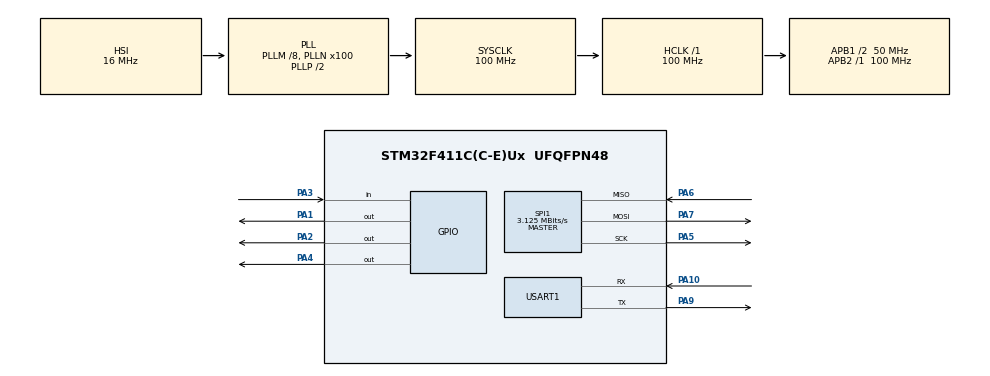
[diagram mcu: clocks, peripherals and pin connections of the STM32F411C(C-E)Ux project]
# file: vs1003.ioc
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Dma.Request0=USART1_RX
Dma.USART1_RX.0.Direction=DMA_PERIPH_TO_MEMORY
Dma.USART1_RX.0.FIFOMode=DMA_FIFOMODE_DISABLE
Dma.USART1_RX.0.Instance=DMA2_Stream2
Dma.USART1_RX.0.MemDataAlignment=DMA_MDATAALIGN_BYTE
Dma.USART1_RX.0.MemInc=DMA_MINC_ENABLE
Dma.USART1_RX.0.Mode=DMA_CIRCULAR
Dma.USART1_RX.0.PeriphDataAlignment=DMA_PDATAALIGN_BYTE
Dma.USART1_RX.0.PeriphInc=DMA_PINC_DISABLE
Dma.USART1_RX.0.Priority=DMA_PRIORITY_LOW
Mcu.Family=STM32F4
Mcu.Name=STM32F411C(C-E)Ux
Mcu.Package=UFQFPN48
NVIC.DMA2_Stream2_IRQn=true\:0\:0\:false\:false\:true\:false\:true\:true
NVIC.PriorityGroup=NVIC_PRIORITYGROUP_4
PA1.PinState=GPIO_PIN_SET
PA1.Signal=GPIO_Output
PA10.Mode=Asynchronous
PA10.Signal=USART1_RX
PA13.Mode=Serial_Wire
PA13.Signal=SYS_JTMS-SWDIO
PA14.Mode=Serial_Wire
PA14.Signal=SYS_JTCK-SWCLK
PA2.PinState=GPIO_PIN_SET
PA2.Signal=GPIO_Output
PA3.Signal=GPIO_Input
PA4.PinState=GPIO_PIN_SET
PA4.Signal=GPIO_Output
PA5.Mode=Full_Duplex_Master
PA5.Signal=SPI1_SCK
PA6.Mode=Full_Duplex_Master
PA6.Signal=SPI1_MISO
PA7.Mode=Full_Duplex_Master
PA7.Signal=SPI1_MOSI
PA9.Mode=Asynchronous
PA9.Signal=USART1_TX
PH0\ -\ OSC_IN.Mode=HSE-External-Oscillator
PH0\ -\ OSC_IN.Signal=RCC_OSC_IN
PH1\ -\ OSC_OUT.Mode=HSE-External-Oscillator
PH1\ -\ OSC_OUT.Signal=RCC_OSC_OUT
ProjectManager.HeapSize=0x200
ProjectManager.StackSize=0x400
ProjectManager.TargetToolchain=STM32CubeIDE
RCC.48MHZClocksFreq_Value=50000000
RCC.AHBFreq_Value=100000000
RCC.APB1CLKDivider=RCC_HCLK_DIV2
RCC.APB1Freq_Value=50000000
RCC.APB1TimFreq_Value=100000000
RCC.APB2Freq_Value=100000000
RCC.APB2TimFreq_Value=100000000
RCC.CortexFreq_Value=100000000
RCC.HCLKFreq_Value=100000000
RCC.HSE_VALUE=25000000
RCC.HSI_VALUE=16000000
RCC.LSE_VALUE=32768
RCC.PLLM=8
RCC.PLLN=100
RCC.SYSCLKFreq_VALUE=100000000
RCC.SYSCLKSource=RCC_SYSCLKSOURCE_PLLCLK
RCC.VCOOutputFreq_Value=200000000
SPI1.BaudRatePrescaler=SPI_BAUDRATEPRESCALER_32
SPI1.CLKPhase=SPI_PHASE_1EDGE
SPI1.CLKPolarity=SPI_POLARITY_LOW
SPI1.CalculateBaudRate=3.125 MBits/s
SPI1.Direction=SPI_DIRECTION_2LINES
SPI1.Mode=SPI_MODE_MASTER
SPI1.VirtualType=VM_MASTER
USART1.VirtualMode=VM_ASYNC
board=custom

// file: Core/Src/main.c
/* USER CODE BEGIN Header */
/**
  ******************************************************************************
  * @file           : main.c
  * @brief          : Main program body
  ******************************************************************************
  * @attention
  *
  * Copyright (c) 2024 STMicroelectronics.
  * All rights reserved.
  *
  * This software is licensed under terms that can be found in the LICENSE file
  * in the root directory of this software component.
  * If no LICENSE file comes with this software, it is provided AS-IS.
  *
  ******************************************************************************
  */
/* USER CODE END Header */
#include "main.h"
#include "dma.h"
#include "spi.h"
#include "usart.h"
#include "gpio.h"

/* USER CODE BEGIN Includes */
#include "mp3sample.h"
/* USER CODE END Includes */

/* USER CODE BEGIN PD */
#define XCS_PIN  GPIO_PIN_4
#define XCS_PORT GPIOA

#define RESET_PIN GPIO_PIN_2
#define RESET_PORT GPIOA

#define XDCS_PIN  GPIO_PIN_1
#define XDCS_PORT GPIOA

#define DREQ_PIN  GPIO_PIN_3
#define DREQ_PORT GPIOA

#define VS1003_R 0x03
#define VS1003_W 0x02

#define ADD_MODE 				0x00
#define ADD_CLOCKF 			0x03
#define ADD_DECODE_TIME 0x04
#define ADD_AUDATA 			0x05
#define ADD_VOL			    0x0b

#define _32kbps_mono_sampling_rate (16000)*2+1
#define _32kbps_stereo_sampling_rate (12000)*2+1
/* USER CODE END PD */

/* USER CODE BEGIN PV */
uint8_t uart_send_buffer[32];
uint8_t uart_rx_val;

uint16_t current_vol = 0x0F0F;
/* USER CODE END PV */

void SystemClock_Config(void);
/* USER CODE BEGIN PFP */
void uart_send(uint8_t uart_num,char *fmt,...);
void VS1003_WriteReg(uint8_t add, uint16_t val);
uint16_t VS1003_ReadReg(uint8_t add);
void VS1003_init();
void SDI_Send(uint8_t *MP3_Data,size_t MP3_Len);

void HAL_UART_RxHalfCpltCallback(UART_HandleTypeDef *huart)
{
	if(huart->Instance==huart1.Instance){
		HAL_UART_Receive_DMA(&huart1, &uart_rx_val, 1);
	}
  UNUSED(huart);
}

void uart_send(uint8_t uart_num,char *fmt,...){
	va_list arg;
	va_start(arg,fmt);
	vsnprintf((char *)uart_send_buffer,32,fmt,arg);

	if(uart_num==1){
		HAL_UART_Transmit(&huart1, uart_send_buffer, 32, 10);
	}
	va_end(arg);
	memset(uart_send_buffer,0,32);
}

void VS1003_init(){
	uint16_t _16_data=0;

  HAL_GPIO_WritePin(RESET_PORT, RESET_PIN, GPIO_PIN_RESET);
  HAL_Delay(1);
  HAL_GPIO_WritePin(RESET_PORT, RESET_PIN, GPIO_PIN_SET);
  HAL_GPIO_WritePin(XDCS_PORT, XDCS_PIN, GPIO_PIN_SET);
  HAL_GPIO_WritePin(XCS_PORT, XCS_PIN, GPIO_PIN_SET);
  uint8_t retry = 0;

  while(1){
  	_16_data = VS1003_ReadReg(ADD_MODE);
  	VS1003_WriteReg(ADD_MODE,0x0804);
  	if(_16_data==0x800 || retry++>=100){
  		uart_send(1,"ADD_MODE : 0x%04X\n",_16_data);
  		break;
  	}
  }

  _16_data = 0;
  retry = 0;
  while(1){
    _16_data = VS1003_ReadReg(ADD_CLOCKF);
    VS1003_WriteReg(ADD_CLOCKF,0x9BE8);
    if(_16_data==0x9BE8 || retry++>=100){
    	uart_send(1,"ADD_CLOCKF : 0x%04X\n",_16_data);
    	break;
   	}
  }

  _16_data = 0;
  retry = 0;
  while(1){
    _16_data = VS1003_ReadReg(ADD_AUDATA);
    VS1003_WriteReg(ADD_AUDATA,_32kbps_stereo_sampling_rate);
    if(_16_data==_32kbps_stereo_sampling_rate || retry++>=100){
    	uart_send(1,"ADD_AUDATA : 0x%04X\n",_16_data);
    	break;
   	}
  }

  _16_data = 0;
  retry = 0;
  while(1){
    _16_data = VS1003_ReadReg(ADD_VOL);
    VS1003_WriteReg(ADD_VOL,current_vol);
    if(_16_data==current_vol || retry++>=100){
    	uart_send(1,"ADD_VOL : 0x%04X\n",_16_data);
    	break;
   	}
  }

  _16_data = 0;
  retry = 0;
  while(1){
    _16_data = VS1003_ReadReg(ADD_DECODE_TIME);
    VS1003_WriteReg(ADD_DECODE_TIME,0x0000);
    if(_16_data==0x0000 || retry++>=100){
    	uart_send(1,"ADD_DECODE_TIME : 0x%04X\n",_16_data);
    	break;
   	}
  }
  uint8_t tx_val = 0xff;

  HAL_GPIO_WritePin(XDCS_PORT, XDCS_PIN, GPIO_PIN_RESET);

  HAL_SPI_Transmit(&hspi1,&tx_val,1,10);
  HAL_SPI_Transmit(&hspi1,&tx_val,1,10);
  HAL_SPI_Transmit(&hspi1,&tx_val,1,10);
  HAL_SPI_Transmit(&hspi1,&tx_val,1,10);

  HAL_GPIO_WritePin(XDCS_PORT, XDCS_PIN, GPIO_PIN_SET);

  HAL_Delay(20);
}

void SDI_Send(uint8_t *MP3_Data,size_t MP3_Len){
	HAL_GPIO_WritePin(XDCS_PORT, XDCS_PIN, GPIO_PIN_RESET);
	for(uint8_t i=0;i<MP3_Len;i++){
		HAL_SPI_Transmit(&hspi1,MP3_Data++,1,10);
	}
	HAL_GPIO_WritePin(XDCS_PORT, XDCS_PIN, GPIO_PIN_SET);
}

void control_mp3(uint32_t *data){
	if(uart_rx_val == 'r'){
		uart_send(1,"restart!\n");
	  *data=0;
	  uart_rx_val = 0;
	}
	else if(uart_rx_val == '-' && current_vol<(0xFDFD)){
		uart_send(1,"minus vol\n");
	  current_vol +=0x0101;
	  VS1003_WriteReg(ADD_VOL,current_vol);
	  uart_rx_val=0;
	}
	else if(uart_rx_val == '+' && (current_vol>0x0101)){
		uart_send(1,"plus vol\n");
	  current_vol -=0x0101;
	  VS1003_WriteReg(ADD_VOL,current_vol);
	  uart_rx_val=0;
	}
}

void VS1003_WriteReg(uint8_t add, uint16_t val){
	uint8_t tx_val;

	while(HAL_GPIO_ReadPin(DREQ_PORT, DREQ_PIN) == 0);

	HAL_GPIO_WritePin(XDCS_PORT, XDCS_PIN, GPIO_PIN_SET);
	HAL_GPIO_WritePin(XCS_PORT, XCS_PIN, GPIO_PIN_RESET);

	tx_val = VS1003_W;
	HAL_SPI_Transmit(&hspi1,&tx_val,1,10);
	tx_val = add;
	HAL_SPI_Transmit(&hspi1,&tx_val,1,10);
	tx_val = val>>8;
	HAL_SPI_Transmit(&hspi1,&tx_val,1,10);
	tx_val = val;
	HAL_SPI_Transmit(&hspi1,&tx_val,1,10);

	HAL_GPIO_WritePin(XCS_PORT, XCS_PIN, GPIO_PIN_SET);

}

uint16_t VS1003_ReadReg(uint8_t add){
	uint16_t ret;
	uint8_t tx_val;
	uint8_t rx_val;

	while(HAL_GPIO_ReadPin(DREQ_PORT, DREQ_PIN) == 0);

	HAL_GPIO_WritePin(XDCS_PORT, XDCS_PIN, GPIO_PIN_SET);
	HAL_GPIO_WritePin(XCS_PORT, XCS_PIN, GPIO_PIN_RESET);

	tx_val = VS1003_R;
	HAL_SPI_Transmit(&hspi1,&tx_val,1,10);
	tx_val = add;
	HAL_SPI_Transmit(&hspi1,&tx_val,1,10);

	HAL_SPI_TransmitReceive(&hspi1,&tx_val,&rx_val,1,10);
	ret = rx_val<<8;
	HAL_SPI_TransmitReceive(&hspi1,&tx_val,&rx_val,1,10);
	ret |= rx_val;

	HAL_GPIO_WritePin(XCS_PORT, XCS_PIN, GPIO_PIN_SET);

	return ret;
}

/* USER CODE END PFP */

int main(void)
{

  /* MCU Configuration--------------------------------------------------------*/

  /* Reset of all peripherals, Initializes the Flash interface and the Systick. */
  HAL_Init();

  /* Configure the system clock */
  SystemClock_Config();

  /* Initialize all configured peripherals */
  MX_GPIO_Init();
  MX_DMA_Init();
  MX_SPI1_Init();
  MX_USART1_UART_Init();
  /* USER CODE BEGIN 2 */
  UART_Start_Receive_DMA(&huart1, &uart_rx_val, 1);
  VS1003_init();
  uint32_t data = 0;
  bool end_flag=true;

  /* USER CODE END 2 */

  /* Infinite loop */
  /* USER CODE BEGIN WHILE */
  while (1)
  {

  	if(HAL_GPIO_ReadPin(DREQ_PORT, DREQ_PIN)==GPIO_PIN_SET)
  		{
  			if(data+32<sizeof(MP3_DATA)){
  				SDI_Send(&MP3_DATA[data],32);
  				data+=32;
  			}
  			else if(end_flag){
  				uart_send(1,"end!\n");
  				end_flag=false;
  			}
  			control_mp3(&data);
  		}

    /* USER CODE END WHILE */

  }
}

void SystemClock_Config(void)
{
  RCC_OscInitTypeDef RCC_OscInitStruct = {0};
  RCC_ClkInitTypeDef RCC_ClkInitStruct = {0};

  /** Configure the main internal regulator output voltage
  */
  __HAL_RCC_PWR_CLK_ENABLE();
  __HAL_PWR_VOLTAGESCALING_CONFIG(PWR_REGULATOR_VOLTAGE_SCALE1);

  /** Initializes the RCC Oscillators according to the specified parameters
  * in the RCC_OscInitTypeDef structure.
  */
  RCC_OscInitStruct.OscillatorType = RCC_OSCILLATORTYPE_HSI;
  RCC_OscInitStruct.HSIState = RCC_HSI_ON;
  RCC_OscInitStruct.HSICalibrationValue = RCC_HSICALIBRATION_DEFAULT;
  RCC_OscInitStruct.PLL.PLLState = RCC_PLL_ON;
  RCC_OscInitStruct.PLL.PLLSource = RCC_PLLSOURCE_HSI;
  RCC_OscInitStruct.PLL.PLLM = 8;
  RCC_OscInitStruct.PLL.PLLN = 100;
  RCC_OscInitStruct.PLL.PLLP = RCC_PLLP_DIV2;
  RCC_OscInitStruct.PLL.PLLQ = 4;
  if (HAL_RCC_OscConfig(&RCC_OscInitStruct) != HAL_OK)
  {
    Error_Handler();
  }

  /** Initializes the CPU, AHB and APB buses clocks
  */
  RCC_ClkInitStruct.ClockType = RCC_CLOCKTYPE_HCLK|RCC_CLOCKTYPE_SYSCLK
                              |RCC_CLOCKTYPE_PCLK1|RCC_CLOCKTYPE_PCLK2;
  RCC_ClkInitStruct.SYSCLKSource = RCC_SYSCLKSOURCE_PLLCLK;
  RCC_ClkInitStruct.AHBCLKDivider = RCC_SYSCLK_DIV1;
  RCC_ClkInitStruct.APB1CLKDivider = RCC_HCLK_DIV2;
  RCC_ClkInitStruct.APB2CLKDivider = RCC_HCLK_DIV1;

  if (HAL_RCC_ClockConfig(&RCC_ClkInitStruct, FLASH_LATENCY_3) != HAL_OK)
  {
    Error_Handler();
  }
}

void Error_Handler(void)
{
  __disable_irq();
  while (1)
  {
  }
}
